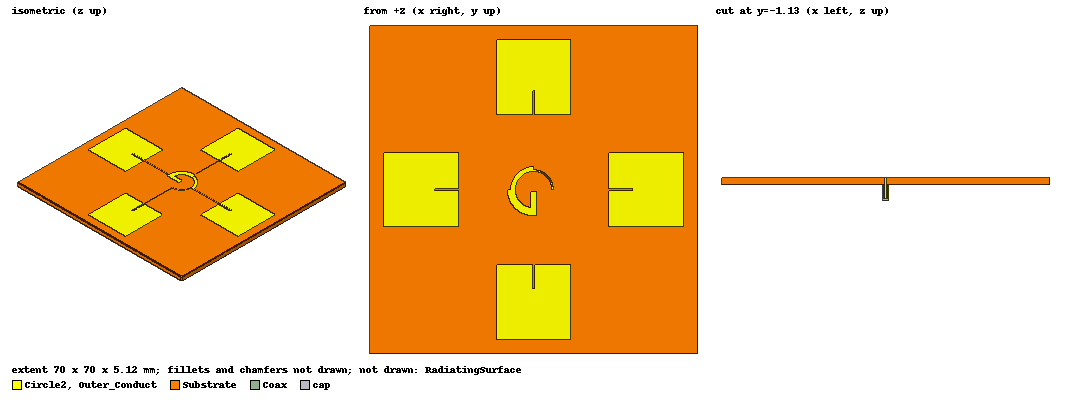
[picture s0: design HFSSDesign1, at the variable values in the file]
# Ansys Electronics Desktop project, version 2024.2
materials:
  vacuum: permittivity=1
  FR4_epoxy: permittivity=4.4 dielectric_loss_tangent=0.02
  Duroid (tm): permittivity=2.2 dielectric_loss_tangent=0.0009
  Rogers RT/duroid 5880 (tm): permittivity=2.2 dielectric_loss_tangent=0.0009
  pec: conductivity=1e+30
  Teflon (tm): permittivity=2.1 dielectric_loss_tangent=0.001

design HFSSDesign1 (HFSS, HFSS Terminal Network, model units mm)
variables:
  Ls = 70mm
  r1 = 5.6mm
  r2 = 4.9mm
  r4 = 4.2mm
  r3 = 3.9mm
  W1 = 1.46mm
  L1 = 5.2mm
  L2 = 15.4mm
  W2 = 0.2mm
  Hs = -1.6mm
  Lp = 16mm
  Wp = 16mm
  W7 = 0.6mm
  dL = 3.9mm
  rs = 0.5mm
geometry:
  Substrate [FR4_epoxy] = box(corner=(-Ls/2, -Ls/2, 0mm), size=(Ls, Ls, Hs))
  Circle1 = circle(normal=Z, centre=(0mm, 0mm, 0mm), radius=r1)
  Rectangle1 = rectangle(corner=(-8mm, 0mm, 0mm), x_size=16mm, y_size=8mm)
  Rectangle2 = rectangle(corner=(0mm, 8mm, 0mm), x_size=8mm, y_size=-14mm)
  Circle1.subtract(Rectangle1, Rectangle2)
  Circle2 [pec] = circle(normal=Z, centre=(0mm, 0mm, 0mm), radius=r2, segments=2000)
  Rectangle3 = rectangle(corner=(0mm, -5.6mm, 0mm), x_size=8mm, y_size=11.6mm)
  Rectangle4 = rectangle(corner=(0mm, -5.6mm, 0mm), x_size=-8mm, y_size=5.6mm)
  Circle2.subtract(Rectangle3, Rectangle4)
  Circle3 = circle(normal=Z, centre=(0mm, 0mm, 0mm), radius=r4, segments=2000)
  Rectangle5 = rectangle(corner=(0mm, -5.6mm, 0mm), x_size=-6mm, y_size=11.6mm)
  Rectangle6 = rectangle(corner=(-5.6mm, 0mm, 0mm), x_size=11.6mm, y_size=-6mm)
  Circle3.subtract(Rectangle5, Rectangle6)
  Circle4 = circle(normal=Z, centre=(0mm, 0mm, 0mm), radius=r3)
  Circle4_1 = Circle4.copy()
  Circle1.subtract(Circle4_1)
  Circle4_2 = Circle4.copy()
  Circle2.subtract(Circle4_2)
  Circle3.subtract(Circle4)
  Rectangle7 = rectangle(corner=(-W1/2, -0.4mm, 0mm), x_size=W1, y_size=-L1)
  Rectangle8 = rectangle(corner=(-W2/2, -3.9mm, 0mm), x_size=W2, y_size=-L2-1.7mm)
  Rectangle9 = rectangle(corner=(-3.9mm, -W2/2, 0mm), x_size=-L2-1.7mm, y_size=W2)
  Rectangle10 = rectangle(corner=(-W2/2, 3.9mm, 0mm), x_size=W2, y_size=L2+1.7mm)
  Rectangle11 = rectangle(corner=(3.9mm, -W2/2, 0mm), x_size=L2+1.7mm, y_size=W2)
  Circle9 = circle(normal=Z, centre=(0mm, 0mm, 0mm), radius=5.6mm)
  Circle10 = circle(normal=Z, centre=(0mm, 0mm, 0mm), radius=6mm)
  Circle10.subtract(Circle9)
  Rectangle7.subtract(Circle10)
  Circle2.unite(Rectangle9, Circle1, Rectangle8, Rectangle7, Circle3, Rectangle11, Rectangle10)
  Patch_1 = rectangle(corner=(-Wp/2, 16mm, 0.01mm), x_size=Wp, y_size=Lp)
  Patch_3 = rectangle(corner=(-16mm, -Wp/2, 0mm), x_size=-Lp, y_size=Wp)
  Patch_2 = rectangle(corner=(16mm, -Wp/2, 0.01mm), x_size=Lp, y_size=Wp)
  Patch_4 = rectangle(corner=(-Wp/2, -16mm, 0mm), x_size=Wp, y_size=-Lp)
  Inset_Slot_1 = rectangle(corner=(-W7/2, 16mm, 0.01mm), x_size=W7, y_size=5.2mm)
  Inset_Slot_2 = rectangle(corner=(16mm, 0.3mm, 0.01mm), x_size=5.2mm, y_size=-0.6mm)
  Inset_Slot_4 = rectangle(corner=(-0.3mm, -16mm, 0mm), x_size=0.6mm, y_size=-5.2mm)
  Inset_Slot_3 = rectangle(corner=(-16mm, -0.3mm, 0mm), x_size=-5.2mm, y_size=0.6mm)
  Patch_1.subtract(Inset_Slot_1)
  Patch_2.subtract(Inset_Slot_2)
  Patch_4.subtract(Inset_Slot_4)
  Patch_3.subtract(Inset_Slot_3)
  Patch_1.chamfer(Vertices=Circle2.vertex(at (8, 32, 0), at (-8, 16, 0)) LeftDistance=dL RightDistance=dL ChamferType=Symmetric)
  Patch_4.chamfer(Vertices=Circle2.vertex(at (8, -16, 0), at (-8, -32, 0)) LeftDistance=dL RightDistance=dL ChamferType=Symmetric)
  Patch_2.chamfer(Vertices=Circle2.vertex(at (16, 8, 0), at (32, -8, 0)) LeftDistance=dL RightDistance=dL ChamferType=Symmetric)
  Patch_3.chamfer(Vertices=Circle2.vertex(at (-32, 8, 0), at (-16, -8, 0)) LeftDistance=dL RightDistance=dL ChamferType=Symmetric)
  Coax [Teflon (tm)] = cylinder(axis=Z, base_centre=(0mm, -1.13mm, Hs-0.01mm), radius=rs, height=-3mm)
  Pin = cylinder(axis=Z, base_centre=(0mm, -1.13mm, Hs), radius=rs/2, height=-3mm)
  Probe = cylinder(axis=Z, base_centre=(0mm, -1.13mm, Hs), radius=rs/2, height=-Hs)
  Port = circle(normal=Z, centre=(0mm, -1.13mm, (-4.6-0.01) mm), radius=0.68476273mm)
  Gnd = rectangle(corner=(-Ls/2, Ls/2, Hs), x_size=70mm, y_size=-70mm)
  RadiatingSurface [vacuum] = region(absolute_offset=10mm on all sides)
  Substrate.subtract(Probe)
  Probe1 = cylinder(axis=Z, base_centre=(0mm, -1.13mm, Hs), radius=rs/2, height=-Hs)
  Coax.subtract(Pin)
  Pin1 = cylinder(axis=Z, base_centre=(0mm, -1.13mm, Hs), radius=rs/2, height=-3mm)
  cap [pec] = cylinder(axis=Z, base_centre=(0mm, -1.13mm, Hs-3mm-0.01mm), radius=0.68476273mm, height=-0.5mm)
  Pin1.unite(Probe1)
  Outer_Conduct [pec] = cylinder(axis=Z, base_centre=(0mm, -1.13mm, Hs-0.01mm), radius=0.68476273mm, height=-3mm)
  Pin2 = cylinder(axis=Z, base_centre=(0mm, -1.13mm, Hs), radius=rs/2, height=-3mm)
  Probe2 = cylinder(axis=Z, base_centre=(0mm, -1.13mm, Hs), radius=rs/2, height=-Hs)
  Pin2.unite(Probe2)
  Coax1 = cylinder(axis=Z, base_centre=(0mm, -1.13mm, Hs-0.01mm), radius=rs, height=-3mm)
  Pin3 = cylinder(axis=Z, base_centre=(0mm, -1.13mm, Hs), radius=rs/2, height=-3mm)
  Coax1.subtract(Pin3)
  Gnd.thicken(0.01mm)
  Cylinder1 = cylinder(axis=Z, base_centre=(0mm, -1.13mm, Hs), radius=rs/2, height=-0.01mm)
  Gnd.subtract(Cylinder1)
  Outer_Conduct.subtract(Coax1, Pin2)
  Outer_Conduct.unite(Gnd)
  [Circle2, Patch_1..Patch_4].thicken(0.01mm)
  Circle2.unite(Patch_1..Patch_4, Pin1)
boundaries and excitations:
  PerfE1: Perfect E Objects=Circle2
  Open1: Radiation Objects=RadiatingSurface
  1: Wave Port Objects=Port WavePortType=Modal NumModes=1 Modes{Mode1{CharImp=Zpi}}
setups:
  Setup1: HfssDriven Frequency=10GHz MaxDeltaS=0.02 MaximumPasses=10 MinimumPasses=1 MinimumConvergedPasses=1 PercentRefinement=30 BasisOrder=1 PortAccuracy=2 DrivenSolverType="Direct Solver"
    sweep Sweep: 5GHz to 15GHz, 101 points; Type=Fast SaveFields
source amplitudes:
  1:1: 1V 0deg
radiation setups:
  3D: Infinite Sphere Theta=0deg..180deg step 2deg Phi=-180deg..180deg step 2deg
  Elevation: Infinite Sphere Theta=-180deg..180deg step 1deg Phi=0deg..90deg step 90deg
  Azimuth: Infinite Sphere Theta=90deg..90deg step 0deg Phi=-180deg..180deg step 1deg
  Infinite Sphere1: Infinite Sphere Theta=0deg..360deg step 2deg Phi=-180deg..180deg step 2deg
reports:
  S Parameter Plot 1: dB(S(1,1)) vs Freq on Setup1 : Sweep
